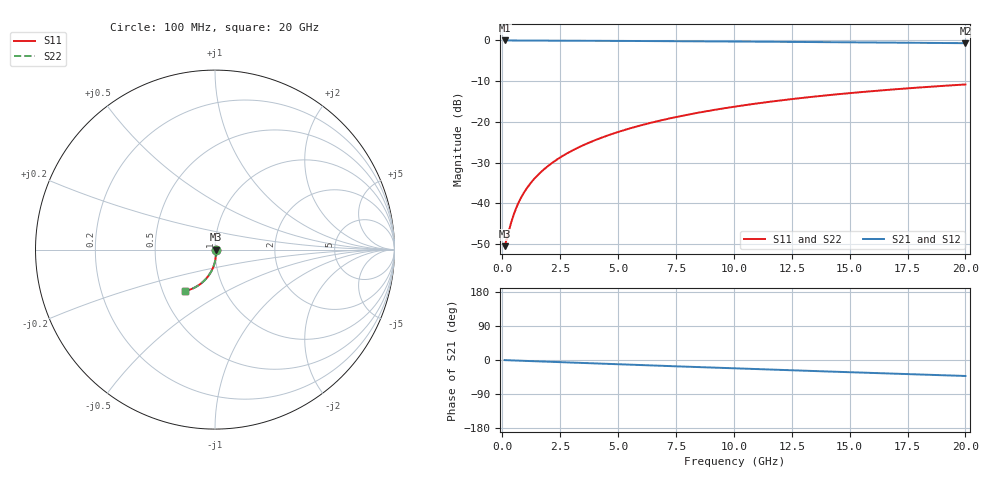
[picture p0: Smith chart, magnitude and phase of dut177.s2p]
! Touchstone file exported from HFSS 2026.1.0
!  File:  C:/ffzhzh/LocalFiles/Ansys_Project_Files/temp_train_BSMRDL_177_1782987101_40604.aedt
!  Generated:  06:13:14 PM Jul  2, 2026
!  Design:  BSMRDL
!  Project:  temp_train_BSMRDL_177_1782987101_40604
! Variables:
!  h_bsmrdl = 4.59um
!  h_ox = 20um
!  h_rdl = 5um
!  h_sub = 80um
!  h_tmrdl = 5um
!  h_tsv = 80um
!  h_via = 3um
!  l_bsmrdl = 682.63um
!  l_sub = 1082.63um
!  l_tmrdl = 200um
!  m_sub = 200um
!  pitch = 21.83um
!  r_tsv = 6um
!  s_tmrdl = 10um
!  w_bsmrdl = 20.3um
!  w_sub = 500um
!  w_tmrdl = 12um
!  x_tsv_center1 = 206um
!  x_tsv_center2 = 908.93um
!  x_tsv_center3 = 1120.93um
!  x_tsv_center4 = 1823.86um
!  x_tsv_center5 = 2035.86um
!  x_tsv_center6 = 2738.79um
# GHz S MA R 50.000000
! Terminal data exported
! Port[1] = BSM_RDL1_1_T1
! Port[2] = BSM_RDL1_1_T2
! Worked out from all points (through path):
!   200 points, 100 MHz to 20 GHz, reference 50 ohm
!   highest |S21| = -0.03 dB at 100 MHz (marker M1); lowest = -0.7 dB at 20 GHz (marker M2)
!   group delay of S21, straight-line fit = 5.83 ps
!   lowest |S11| = -50.5 dB at 100 MHz (marker M3), VSWR 1.01, Z = 50.3 - j0.0616 ohm
!   |S11| at or under -10 dB: start of sweep to end of sweep
!   |S22| runs from -50.5 to -10.8 dB; largest |S21 - S12| = 3.3e-15
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0.1  0.002975 -11.9  0.9971 -0.3  0.9971 -0.3  0.002975 -11.9
! Gamma 0 0 0 0
! Port Impedance 50 0 50 0
0.4  0.006024 -42.4  0.9955 -1.0  0.9955 -1.0  0.006024 -42.4
0.5  0.007354 -49.2  0.9951 -1.2  0.9951 -1.2  0.007353 -49.2
0.6  0.008732 -54.6  0.9947 -1.5  0.9947 -1.5  0.008732 -54.6
0.7  0.01014 -58.9  0.9945 -1.7  0.9945 -1.7  0.01014 -58.9
0.9  0.01299 -65.2  0.994 -2.1  0.994 -2.1  0.01299 -65.2
1.2  0.01733 -71.4  0.9935 -2.8  0.9935 -2.8  0.01733 -71.4
1.4  0.02024 -74.3  0.9932 -3.3  0.9932 -3.3  0.02024 -74.3
1.7  0.02463 -77.5  0.9927 -3.9  0.9927 -3.9  0.02463 -77.5
2.2  0.03203 -81.2  0.9918 -5.1  0.9918 -5.1  0.03203 -81.2
2.8  0.04102 -84.3  0.9905 -6.4  0.9905 -6.4  0.04102 -84.3
3.5  0.05168 -87.0  0.9888 -8.0  0.9888 -8.0  0.05168 -87.0
4.2  0.06249 -89.3  0.987 -9.5  0.987 -9.5  0.0625 -89.3
5  0.07499 -91.7  0.9846 -11.3  0.9846 -11.3  0.07499 -91.7
5.9  0.08915 -94.2  0.9818 -13.2  0.9818 -13.2  0.08915 -94.2
6.8  0.1033 -96.5  0.9789 -15.1  0.9789 -15.1  0.1033 -96.5
8.3  0.1268 -100.3  0.9737 -18.3  0.9737 -18.3  0.1268 -100.3
10.1  0.1545 -104.7  0.9671 -22.1  0.9671 -22.1  0.1545 -104.7
11.7  0.1784 -108.4  0.9608 -25.5  0.9608 -25.5  0.1784 -108.4
13.4  0.2029 -112.2  0.9537 -29.0  0.9537 -29.0  0.2029 -112.3
16.7  0.2474 -119.4  0.9388 -35.7  0.9388 -35.7  0.2474 -119.4
20  0.2874 -126.2  0.9231 -42.2  0.9231 -42.2  0.2875 -126.2
